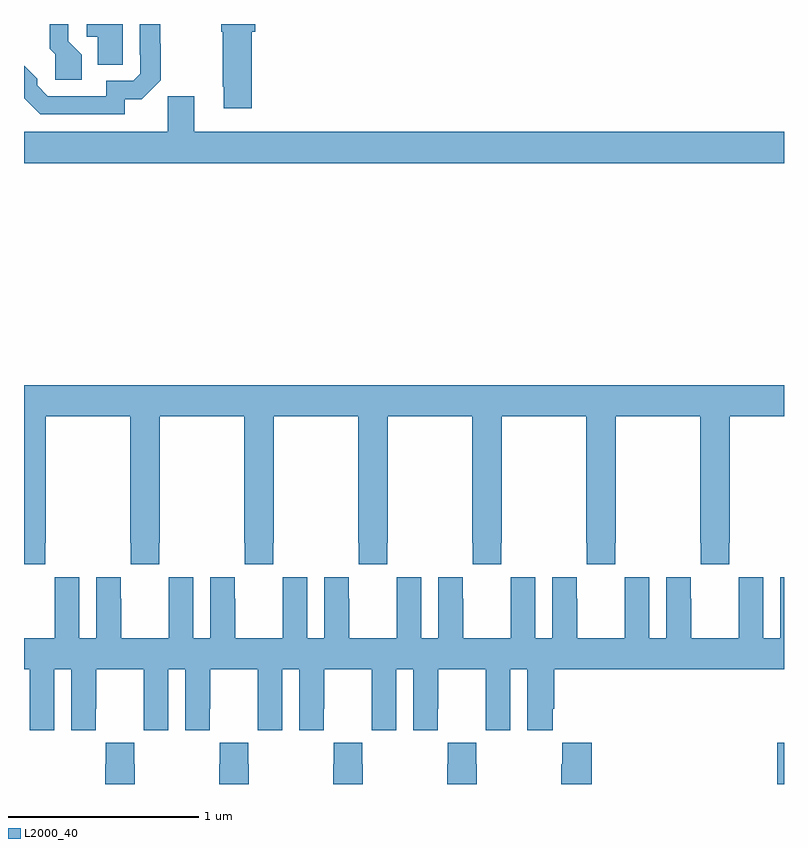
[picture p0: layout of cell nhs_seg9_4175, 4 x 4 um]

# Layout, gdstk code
import gdstk
lib = gdstk.Library(unit=1e-6, precision=1e-09)
def R(c, l, rs):  # rectangles x0, y0, x1, y1
    for r in rs: c.add(gdstk.rectangle(r[:2], r[2:], *l))
def P(c, l, *ps):  # polygons
    for p in ps: c.add(gdstk.Polygon(p, *l))
L2000_40 = (2000, 40)

nhs_seg9_4175 = lib.new_cell('nhs_seg9_4175')
R(nhs_seg9_4175, L2000_40, [(354.965,1178.5,355,1178.716)])
P(nhs_seg9_4175, L2000_40, [(352.199,1182.459),(352.217,1182.459),(352.217,1182.5),(352.039,1182.5),(352.039,1182.459),(352.045,1182.459),(352.045,1182.169),(352.052,1182.169),(352.052,1182.057),(352.199,1182.057)],
  [(351.531,1182.105),(351.62,1182.105),(351.72,1182.204),(351.72,1182.395),(351.718,1182.395),(351.718,1182.5),(351.609,1182.5),(351.609,1182.337),(351.612,1182.337),(351.612,1182.237),(351.576,1182.201),(351.432,1182.201),(351.432,1182.12),(351.126,1182.12),(351.069,1182.177),(351.069,1182.211),(351,1182.28),(351,1182.11),(351.086,1182.024),(351.531,1182.024)],
  [(351.519,1182.5),(351.33,1182.5),(351.33,1182.434),(351.389,1182.434),(351.389,1182.286),(351.519,1182.286)],
  [(351.304,1182.338),(351.234,1182.408),(351.234,1182.5),(351.136,1182.5),(351.136,1182.37),(351.165,1182.341),(351.165,1182.207),(351.304,1182.207)],
  [(355,1181.932),(351.895,1181.932),(351.895,1182.12),(351.757,1182.12),(351.757,1181.932),(351,1181.932),(351,1181.768),(355,1181.768)],
  [(351,1179.657),(351.111,1179.657),(351.111,1179.769),(351.114,1179.769),(351.114,1180.436),(351.559,1180.436),(351.559,1179.769),(351.561,1179.769),(351.561,1179.657),(351.711,1179.657),(351.711,1179.769),(351.714,1179.769),(351.714,1180.436),(352.159,1180.436),(352.159,1179.769),(352.161,1179.769),(352.161,1179.657),(352.311,1179.657),(352.311,1179.769),(352.314,1179.769),(352.314,1180.436),(352.759,1180.436),(352.759,1179.769),(352.761,1179.769),(352.761,1179.657),(352.911,1179.657),(352.911,1179.769),(352.914,1179.769),(352.914,1180.436),(353.359,1180.436),(353.359,1179.769),(353.361,1179.769),(353.361,1179.657),(353.511,1179.657),(353.511,1179.769),(353.514,1179.769),(353.514,1180.436),(353.959,1180.436),(353.959,1179.769),(353.961,1179.769),(353.961,1179.657),(354.111,1179.657),(354.111,1179.769),(354.114,1179.769),(354.114,1180.436),(354.559,1180.436),(354.559,1179.769),(354.561,1179.769),(354.561,1179.657),(354.711,1179.657),(354.711,1179.769),(354.714,1179.769),(354.714,1180.436),(355,1180.436),(355,1180.6),(351,1180.6)],
  [(351.762,1179.476),(351.761,1179.476),(351.761,1179.268),(351.511,1179.268),(351.511,1179.476),(351.51,1179.476),(351.51,1179.589),(351.38,1179.589),(351.38,1179.268),(351.292,1179.268),(351.292,1179.589),(351.162,1179.589),(351.162,1179.476),(351.161,1179.476),(351.161,1179.268),(351,1179.268),(351,1179.104),(351.029,1179.104),(351.029,1178.896),(351.03,1178.896),(351.03,1178.784),(351.16,1178.784),(351.16,1179.104),(351.248,1179.104),(351.248,1178.784),(351.378,1178.784),(351.378,1178.896),(351.379,1178.896),(351.379,1179.104),(351.629,1179.104),(351.629,1178.896),(351.63,1178.896),(351.63,1178.784),(351.76,1178.784),(351.76,1179.104),(351.848,1179.104),(351.848,1178.784),(351.978,1178.784),(351.978,1178.896),(351.979,1178.896),(351.979,1179.104),(352.229,1179.104),(352.229,1178.896),(352.23,1178.896),(352.23,1178.784),(352.36,1178.784),(352.36,1179.104),(352.448,1179.104),(352.448,1178.784),(352.578,1178.784),(352.578,1178.896),(352.579,1178.896),(352.579,1179.104),(352.829,1179.104),(352.829,1178.896),(352.83,1178.896),(352.83,1178.784),(352.96,1178.784),(352.96,1179.104),(353.048,1179.104),(353.048,1178.784),(353.178,1178.784),(353.178,1178.896),(353.179,1178.896),(353.179,1179.104),(353.429,1179.104),(353.429,1178.896),(353.43,1178.896),(353.43,1178.784),(353.56,1178.784),(353.56,1179.104),(353.648,1179.104),(353.648,1178.784),(353.782,1178.784),(353.782,1178.896),(353.792,1178.896),(353.792,1179.104),(355,1179.104),(355,1179.589),(354.98,1179.589),(354.98,1179.268),(354.892,1179.268),(354.892,1179.589),(354.762,1179.589),(354.762,1179.476),(354.761,1179.476),(354.761,1179.268),(354.511,1179.268),(354.511,1179.476),(354.51,1179.476),(354.51,1179.589),(354.38,1179.589),(354.38,1179.268),(354.292,1179.268),(354.292,1179.589),(354.162,1179.589),(354.162,1179.476),(354.161,1179.476),(354.161,1179.268),(353.911,1179.268),(353.911,1179.476),(353.91,1179.476),(353.91,1179.589),(353.78,1179.589),(353.78,1179.268),(353.692,1179.268),(353.692,1179.589),(353.562,1179.589),(353.562,1179.476),(353.561,1179.476),(353.561,1179.268),(353.311,1179.268),(353.311,1179.476),(353.31,1179.476),(353.31,1179.589),(353.18,1179.589),(353.18,1179.268),(353.092,1179.268),(353.092,1179.589),(352.962,1179.589),(352.962,1179.476),(352.961,1179.476),(352.961,1179.268),(352.711,1179.268),(352.711,1179.476),(352.71,1179.476),(352.71,1179.589),(352.58,1179.589),(352.58,1179.268),(352.492,1179.268),(352.492,1179.589),(352.362,1179.589),(352.362,1179.476),(352.361,1179.476),(352.361,1179.268),(352.111,1179.268),(352.111,1179.476),(352.11,1179.476),(352.11,1179.589),(351.98,1179.589),(351.98,1179.268),(351.892,1179.268),(351.892,1179.589),(351.762,1179.589)],
  [(351.582,1178.603),(351.579,1178.603),(351.579,1178.716),(351.429,1178.716),(351.429,1178.603),(351.427,1178.603),(351.427,1178.5),(351.582,1178.5)],
  [(352.182,1178.603),(352.179,1178.603),(352.179,1178.716),(352.029,1178.716),(352.029,1178.603),(352.027,1178.603),(352.027,1178.5),(352.182,1178.5)],
  [(353.987,1178.716),(353.833,1178.716),(353.833,1178.603),(353.827,1178.603),(353.827,1178.5),(353.987,1178.5)],
  [(353.382,1178.603),(353.379,1178.603),(353.379,1178.716),(353.229,1178.716),(353.229,1178.603),(353.227,1178.603),(353.227,1178.5),(353.382,1178.5)],
  [(352.782,1178.603),(352.779,1178.603),(352.779,1178.716),(352.629,1178.716),(352.629,1178.603),(352.627,1178.603),(352.627,1178.5),(352.782,1178.5)])

lib.write_gds('nhs_seg9_4175.gds')
